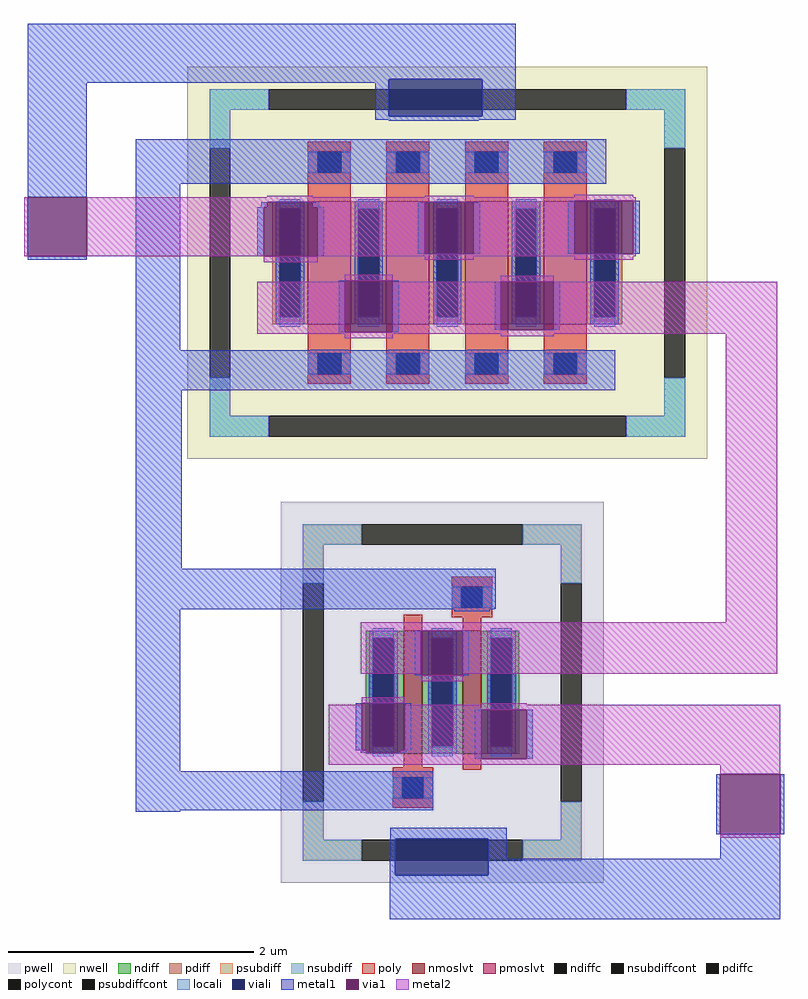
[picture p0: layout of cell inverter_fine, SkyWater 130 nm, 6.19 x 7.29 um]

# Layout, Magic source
magic
tech sky130A
magscale 1 2
<< viali >>
rect 478 854 630 914
rect 488 -382 640 -322
<< metal1 >>
rect -110 914 684 1004
rect -110 908 478 914
rect -110 722 -14 908
rect 456 854 478 908
rect 630 854 684 914
rect 456 848 684 854
rect 478 846 624 848
rect -110 620 -14 626
rect 66 744 832 816
rect 66 473 138 744
rect 270 706 280 714
rect 354 706 364 714
rect 264 626 274 706
rect 362 626 372 706
rect 526 630 536 714
rect 616 630 626 714
rect 770 630 780 716
rect 876 630 886 716
rect 396 502 406 586
rect 484 502 494 586
rect 650 506 660 584
rect 746 506 756 584
rect 66 408 846 473
rect 66 117 141 408
rect 66 52 652 117
rect 66 51 649 52
rect 66 -212 138 51
rect 520 -56 530 16
rect 598 -56 608 16
rect 424 -178 434 -102
rect 504 -178 514 -102
rect 432 -182 442 -178
rect 496 -182 506 -178
rect 618 -192 628 -112
rect 702 -192 712 -112
rect 66 -276 550 -212
rect 66 -278 138 -276
rect 480 -322 670 -304
rect 1011 -315 1017 -217
rect 1115 -315 1121 -217
rect 480 -355 488 -322
rect 479 -382 488 -355
rect 640 -355 670 -322
rect 1017 -355 1115 -315
rect 640 -382 1115 -355
rect 479 -453 1115 -382
<< via1 >>
rect -110 626 -14 722
rect 280 706 354 714
rect 274 626 362 706
rect 536 630 616 714
rect 780 630 876 716
rect 406 502 484 586
rect 660 506 746 584
rect 530 -56 598 16
rect 434 -178 504 -102
rect 442 -182 496 -178
rect 628 -192 702 -112
rect 1017 -315 1115 -217
<< metal2 >>
rect 280 722 354 724
rect 536 722 616 724
rect 780 722 876 726
rect -116 626 -110 722
rect -14 716 880 722
rect -14 714 780 716
rect -14 706 280 714
rect 354 706 536 714
rect -14 626 274 706
rect 362 630 536 706
rect 616 630 780 714
rect 876 630 880 716
rect 362 626 880 630
rect 274 616 362 626
rect 536 620 616 626
rect 780 620 876 626
rect 406 586 484 596
rect 264 502 406 584
rect 660 584 746 594
rect 484 506 660 584
rect 746 506 1110 584
rect 484 502 1110 506
rect 264 500 1110 502
rect 406 492 484 500
rect 660 496 746 500
rect 1026 30 1110 500
rect 432 16 1110 30
rect 432 -54 530 16
rect 598 -54 1110 16
rect 530 -66 598 -56
rect 434 -102 504 -92
rect 380 -178 434 -104
rect 628 -104 702 -102
rect 504 -112 1115 -104
rect 504 -178 628 -112
rect 380 -182 442 -178
rect 496 -182 628 -178
rect 380 -192 628 -182
rect 702 -192 1115 -112
rect 380 -202 1115 -192
rect 1017 -217 1115 -202
rect 1017 -321 1115 -315
use sky130_fd_pr__nfet_01v8_lvt_DJ7QE5  sky130_fd_pr__nfet_01v8_lvt_DJ7QE5_0
transform 1 0 565 0 1 -84
box -263 -310 263 310
use sky130_fd_pr__pfet_01v8_lvt_4QBKD3  sky130_fd_pr__pfet_01v8_lvt_4QBKD3_0
transform 1 0 573 0 1 615
box -423 -319 423 319
<< end >>

# cell sky130_fd_pr__nfet_01v8_lvt_DJ7QE5: kit device sky130_fd_pr__nfet_01v8_lvt, w 1.0 l 0.15 m 1 nf 2 diffcov 100 polycov 100 guard 1 glc 1 grc 1 gtc 1 gbc 1 tbcov 100 rlcov 100 topc 1 botc 1 poverlap 0 doverlap 1 lmin 0.15 wmin 0.42 compatible {sky130_fd_pr__nfet_01v8 sky130_fd_pr__nfet_01v8_lvt sky130_fd_bs_flash__special_sonosfet_star sky130_fd_pr__nfet_g5v0d10v5 sky130_fd_pr__nfet_05v0_nvt sky130_fd_pr__nfet_03v3_nvt} full_metal 1 viasrc 100 viadrn 100 viagate 100 viagb 0 viagr 0 viagl 0 viagt 0

# cell sky130_fd_pr__pfet_01v8_lvt_4QBKD3: kit device sky130_fd_pr__pfet_01v8_lvt, w 1.0 l 0.35 m 1 nf 4 diffcov 100 polycov 100 guard 1 glc 1 grc 1 gtc 1 gbc 1 tbcov 100 rlcov 100 topc 1 botc 1 poverlap 0 doverlap 1 lmin 0.35 wmin 0.42 compatible {sky130_fd_pr__pfet_01v8 sky130_fd_pr__pfet_01v8_lvt sky130_fd_pr__pfet_01v8_hvt sky130_fd_pr__pfet_g5v0d10v5} full_metal 1 viasrc 100 viadrn 100 viagate 100 viagb 0 viagr 0 viagl 0 viagt 0
